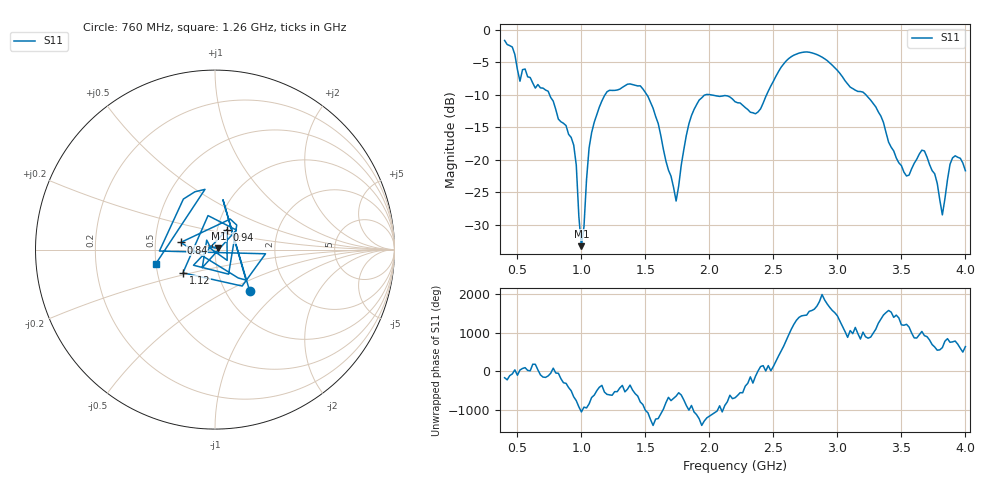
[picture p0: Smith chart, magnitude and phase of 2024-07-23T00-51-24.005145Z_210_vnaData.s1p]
!Created with skrf (http://scikit-rf.org).
# Hz S RI R 50.0
!freq ReS11 ImS11
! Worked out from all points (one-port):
!   181 points, 400 MHz to 4 GHz, reference 50 ohm
!   lowest |S11| = -33.3 dB at 1 GHz (marker M1), VSWR 1.04, Z = 52 + j1.01 ohm
!   |S11| at or under -10 dB: 1.51 GHz to 1.977 GHz (466.2 MHz wide, 26.7 % of centre); 1.996 GHz to 2.448 GHz (452 MHz wide, 20.3 % of centre); 3.221 GHz to end of sweep (the widest 3 of 4)
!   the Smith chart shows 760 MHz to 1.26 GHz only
!   S11 on the Smith chart (normalised r, x): 760 MHz: 1.29, -0.65; 840 MHz: 0.68, +0.06; 940 MHz: 1.11, +0.25; 1.12 GHz: 0.68, -0.18; 1.26 GHz: 0.50, -0.09
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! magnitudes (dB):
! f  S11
! 400 MHz  -1.7
! 520 MHz  -7.9
! 560 MHz  -6.1
! 760 MHz  -10.4
! 840 MHz  -14.2
! 860 MHz  -14.4
! 940 MHz  -17.8
! 1 GHz  -33.3
! 1.06 GHz  -18.2
! 1.12 GHz  -13.1
! 1.26 GHz  -9.4
! 1.3 GHz  -9.2
! 1.52 GHz  -10.3
! 1.74 GHz  -26.4
! 1.76 GHz  -24.1
! 1.84 GHz  -14.5
! 1.92 GHz  -10.8
! 2.2 GHz  -11.1
! 2.38 GHz  -12.7
! 2.66 GHz  -3.9
! 2.88 GHz  -4.2
! 3.1 GHz  -8.9
! 3.3 GHz  -11.9
! 3.56 GHz  -22.4
! 3.68 GHz  -18.7
! 3.82 GHz  -28.5
! 3.9 GHz  -19.7
! 4 GHz  -21.7
